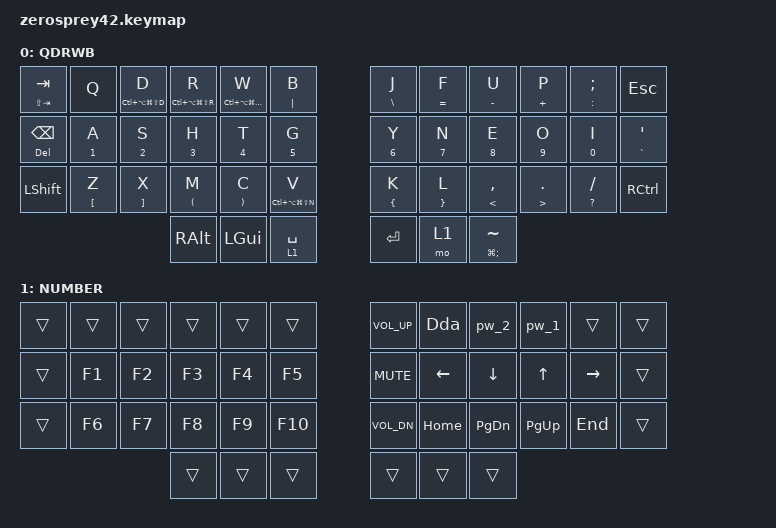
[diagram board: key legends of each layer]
/*
 * Copyright (c) 2020 The ZMK Contributors
 * and (c) 2022 tubbytwins (Matthew A. Schnoor) and beekeeb
 *
 * SPDX-License-Identifier: MIT
 */

#include <behaviors.dtsi>
#include <dt-bindings/zmk/keys.h>

/ {
    chosen {
        zmk,matrix_transform = &default_transform;
    };
};

/ {
    behaviors {
        gqt: global-quick-tap {
            compatible = "zmk,behavior-hold-tap";
            label = "GLOBAL_QUICK_TAP";
            #binding-cells = <2>;
            flavor = "tap-preferred";
            tapping-term-ms = <200>;
            quick-tap-ms = <125>;
            global-quick-tap;
            bindings = <&kp>, <&kp>;
        };
    };

    macros {
        Dda: Dda {
            compatible = "zmk,behavior-macro";
            #binding-cells = <0>;
            bindings = <&kp D &kp D &kp A &kp SPACE>;
            label = "DDA";
        };

        pw_1: pw_1 {
            compatible = "zmk,behavior-macro";
            #binding-cells = <0>;
            bindings = <&kp Z &kp A &kp Q &kp N1 &kp LS(X) &kp LS(S) &kp LS(D) &kp AT>;
            label = "PW_1";
        };

        pw_2: pw_2 {
            compatible = "zmk,behavior-macro";
            #binding-cells = <0>;
            bindings = <&kp LS(Q) &kp A &kp Z &kp EXCL &kp N5 &kp N4 &kp N3 &kp N5 &kp N1 &kp N5>;
            label = "PW_2";
        };
    };

    combos {
        compatible = "zmk,combos";

        Copy {
            bindings = <&kp LG(C)>;
            key-positions = <14 15>;
        };

        Paste {
            bindings = <&kp LG(V)>;
            key-positions = <15 16>;
        };

        Cut {
            bindings = <&kp LG(X)>;
            key-positions = <13 14>;
        };
    };

    keymap {
        compatible = "zmk,keymap";

        default_layer {
            label = "QDRWB";

            // -----------------------------------------------------------------------------------------
            // | TAB  |  Q  |  D  |  R  |  W  |  B  |   |  J  |  F   |  U  |  P  |  ;  | ESC   |
            // | BSPC |  A  |  S  |  H  |  T  |  G  |   |  Y  |  N   |  E  |  O  |  I  |  '    |
            // | SHFT |  Z  |  X  |  M  |  C  |  V  |   |  K  |  L   |  ,  |  .  |  /  | CTRL  |
            //                    | ALT | GUI | SPC |   | ENT | LWR  |  ~  |

            bindings = <
&gqt LS(TAB) TAB  &kp Q        &gqt LC(LA(LG(LS(D)))) D  &gqt LC(LA(LG(LS(R)))) R  &gqt LC(LA(LG(LS(W)))) W  &gqt PIPE B                 &gqt BSLH J  &gqt EQUAL F  &gqt MINUS U         &gqt PLUS P  &gqt COLON SEMI  &kp ESC
&gqt DEL BSPC     &gqt N1 A    &gqt N2 S                 &gqt N3 H                 &gqt N4 T                 &gqt N5 G                   &gqt N6 Y    &gqt N7 N     &gqt N8 E            &gqt N9 O    &gqt N0 I        &gqt GRAVE SQT
&kp LSHFT         &gqt LBKT Z  &gqt RBKT X               &gqt LPAR M               &gqt RPAR C               &gqt LC(LA(LG(LS(N)))) V    &gqt LBRC K  &gqt RBRC L   &gqt LT COMMA        &gqt GT DOT  &gqt QMARK FSLH  &kp RCTRL
                                                         &kp RALT                  &kp LGUI                  &lt 1 SPACE                 &kp RET      &mo 1         &gqt LG(SEMI) TILDE
            >;
        };

        lower_layer {
            label = "NUMBER";

            // -----------------------------------------------------------------------------------------
            // |     |     |     |     |     |     |      |      |      |       |       |     |      |
            // |     | F1  | F2  | F3  | F4  | F5  |      |  V+  | LFT  | DWN   |  UP   | RGT |      |
            // |     | F6  | F7  | F8  | F9  | F10 |      | mute | HOME | PG_DN | PG_UP | END |      |
            //                   |     |     |     |      |  V-  |      |       |

            bindings = <
&trans   &trans   &trans   &trans   &trans   &trans                    &kp C_VOLUME_UP  &Dda      &pw_2      &pw_1      &trans     &trans
&trans   &kp F1   &kp F2   &kp F3   &kp F4   &kp F5                    &kp K_MUTE       &kp LEFT  &kp DOWN   &kp UP     &kp RIGHT  &trans
&trans   &kp F6   &kp F7   &kp F8   &kp F9   &kp F10                   &kp C_VOL_DN     &kp HOME  &kp PG_DN  &kp PG_UP  &kp END    &trans
                                    &trans   &trans  &trans   &trans   &trans           &trans
            >;
        };
    };
};
